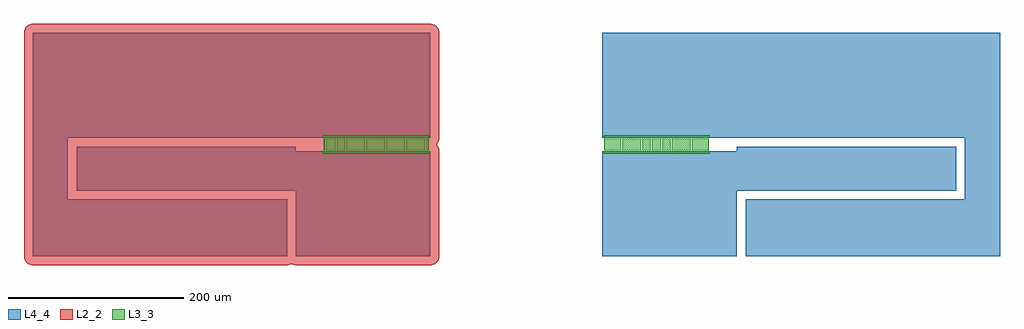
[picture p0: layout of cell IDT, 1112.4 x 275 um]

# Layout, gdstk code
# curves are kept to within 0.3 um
import gdstk
lib = gdstk.Library(unit=1e-6, precision=1e-09)
def P(c, l, *ps):  # polygons
    for p in ps: c.add(gdstk.Polygon(p, *l))
L2_2 = (2, 2)
L3_3 = (3, 3)
L4_4 = (4, 4)

idt = lib.new_cell('IDT')
P(idt, L2_2, [(-401.2,-37.5),(-405.027,-36.739),(-408.271,-34.571),(-410.439,-31.327),(-411.2,-27.5),(-411.2,227.5),(-410.769,230.403),(-409.515,233.056),(-405.914,236.319),(-401.2,237.5),(52,237.5),(54.903,237.069),(57.556,235.815),(60.819,232.214),(62,227.5),(62,107.5),(61.569,104.597),(60,101.52),(60,98.48),(61.569,95.403),(62,92.5),(62,-27.5),(61.569,-30.403),(60.315,-33.056),(56.714,-36.319),(52,-37.5),(-101.2,-37.5),(-104.103,-37.069),(-106.2,-36.148),(-108.297,-37.069),(-111.2,-37.5)])
P(idt, L3_3, [(-68.8,92.5),(-66.99,92.5),(-66.99,106.75),(-66.4,106.75),(-66.4,92.5),(-64.59,92.5),(-64.59,106.75),(-64,106.75),(-64,92.5),(-62.19,92.5),(-62.19,106.75),(-61.6,106.75),(-61.6,92.5),(-59.79,92.5),(-59.79,106.75),(-59.2,106.75),(-59.2,92.5),(-57.39,92.5),(-57.39,106.75),(-56.8,106.75),(-56.8,92.5),(-54.99,92.5),(-54.99,106.75),(-54.4,106.75),(-54.4,92.5),(-52.59,92.5),(-52.59,106.75),(-52,106.75),(-52,92.5),(-50.19,92.5),(-50.19,106.75),(-49.6,106.75),(-49.6,92.5),(-47.79,92.5),(-47.79,106.75),(-47.2,106.75),(-47.2,92.5),(-45.39,92.5),(-45.39,106.75),(-44.8,106.75),(-44.8,92.5),(-42.99,92.5),(-42.99,106.75),(-42.4,106.75),(-42.4,92.5),(-40.59,92.5),(-40.59,106.75),(-40,106.75),(-40,92.5),(-38.19,92.5),(-38.19,106.75),(-37.6,106.75),(-37.6,92.5),(-35.79,92.5),(-35.79,106.75),(-35.2,106.75),(-35.2,92.5),(-33.39,92.5),(-33.39,106.75),(-32.8,106.75),(-32.8,92.5),(-30.99,92.5),(-30.99,106.75),(-30.4,106.75),(-30.4,92.5),(-28.59,92.5),(-28.59,106.75),(-28,106.75),(-28,92.5),(-26.19,92.5),(-26.19,106.75),(-25.6,106.75),(-25.6,92.5),(-23.79,92.5),(-23.79,106.75),(-23.2,106.75),(-23.2,92.5),(-21.39,92.5),(-21.39,106.75),(-20.8,106.75),(-20.8,92.5),(-18.99,92.5),(-18.99,106.75),(-18.4,106.75),(-18.4,92.5),(-16.59,92.5),(-16.59,106.75),(-16,106.75),(-16,92.5),(-14.19,92.5),(-14.19,106.75),(-13.6,106.75),(-13.6,92.5),(-11.79,92.5),(-11.79,106.75),(-11.2,106.75),(-11.2,92.5),(-9.39,92.5),(-9.39,106.75),(-8.8,106.75),(-8.8,92.5),(-6.99,92.5),(-6.99,106.75),(-6.4,106.75),(-6.4,92.5),(-4.59,92.5),(-4.59,106.75),(-4,106.75),(-4,92.5),(-2.19,92.5),(-2.19,106.75),(-1.6,106.75),(-1.6,92.5),(0.21,92.5),(0.21,106.75),(0.8,106.75),(0.8,92.5),(2.61,92.5),(2.61,106.75),(3.2,106.75),(3.2,92.5),(5.01,92.5),(5.01,106.75),(5.6,106.75),(5.6,92.5),(7.41,92.5),(7.41,106.75),(8,106.75),(8,92.5),(9.81,92.5),(9.81,106.75),(10.4,106.75),(10.4,92.5),(12.21,92.5),(12.21,106.75),(12.8,106.75),(12.8,92.5),(14.61,92.5),(14.61,106.75),(15.2,106.75),(15.2,92.5),(17.01,92.5),(17.01,106.75),(17.6,106.75),(17.6,92.5),(19.41,92.5),(19.41,106.75),(20,106.75),(20,92.5),(21.81,92.5),(21.81,106.75),(22.4,106.75),(22.4,92.5),(24.21,92.5),(24.21,106.75),(24.8,106.75),(24.8,92.5),(26.61,92.5),(26.61,106.75),(27.2,106.75),(27.2,92.5),(29.01,92.5),(29.01,106.75),(29.6,106.75),(29.6,92.5),(31.41,92.5),(31.41,106.75),(32,106.75),(32,92.5),(33.81,92.5),(33.81,106.75),(34.4,106.75),(34.4,92.5),(36.21,92.5),(36.21,106.75),(36.8,106.75),(36.8,92.5),(38.61,92.5),(38.61,106.75),(39.2,106.75),(39.2,92.5),(41.01,92.5),(41.01,106.75),(41.6,106.75),(41.6,92.5),(43.41,92.5),(43.41,106.75),(44,106.75),(44,92.5),(45.81,92.5),(45.81,106.75),(46.4,106.75),(46.4,92.5),(48.21,92.5),(48.21,106.75),(48.8,106.75),(48.8,92.5),(50.6,92.5),(50.6,89.5),(-70.6,89.5),(-70.6,92.5),(-69.39,92.5),(-69.39,106.75),(-68.8,106.75),(-68.8,92.5)],
  [(-68.19,93.25),(-68.19,107.5),(-70.6,107.5),(-70.6,110.5),(50.6,110.5),(50.6,107.5),(50,107.5),(50,93.25),(49.41,93.25),(49.41,107.5),(47.6,107.5),(47.6,93.25),(47.01,93.25),(47.01,107.5),(45.2,107.5),(45.2,93.25),(44.61,93.25),(44.61,107.5),(42.8,107.5),(42.8,93.25),(42.21,93.25),(42.21,107.5),(40.4,107.5),(40.4,93.25),(39.81,93.25),(39.81,107.5),(38,107.5),(38,93.25),(37.41,93.25),(37.41,107.5),(35.6,107.5),(35.6,93.25),(35.01,93.25),(35.01,107.5),(33.2,107.5),(33.2,93.25),(32.61,93.25),(32.61,107.5),(30.8,107.5),(30.8,93.25),(30.21,93.25),(30.21,107.5),(28.4,107.5),(28.4,93.25),(27.81,93.25),(27.81,107.5),(26,107.5),(26,93.25),(25.41,93.25),(25.41,107.5),(23.6,107.5),(23.6,93.25),(23.01,93.25),(23.01,107.5),(21.2,107.5),(21.2,93.25),(20.61,93.25),(20.61,107.5),(18.8,107.5),(18.8,93.25),(18.21,93.25),(18.21,107.5),(16.4,107.5),(16.4,93.25),(15.81,93.25),(15.81,107.5),(14,107.5),(14,93.25),(13.41,93.25),(13.41,107.5),(11.6,107.5),(11.6,93.25),(11.01,93.25),(11.01,107.5),(9.2,107.5),(9.2,93.25),(8.61,93.25),(8.61,107.5),(6.8,107.5),(6.8,93.25),(6.21,93.25),(6.21,107.5),(4.4,107.5),(4.4,93.25),(3.81,93.25),(3.81,107.5),(2,107.5),(2,93.25),(1.41,93.25),(1.41,107.5),(-0.4,107.5),(-0.4,93.25),(-0.99,93.25),(-0.99,107.5),(-2.8,107.5),(-2.8,93.25),(-3.39,93.25),(-3.39,107.5),(-5.2,107.5),(-5.2,93.25),(-5.79,93.25),(-5.79,107.5),(-7.6,107.5),(-7.6,93.25),(-8.19,93.25),(-8.19,107.5),(-10,107.5),(-10,93.25),(-10.59,93.25),(-10.59,107.5),(-12.4,107.5),(-12.4,93.25),(-12.99,93.25),(-12.99,107.5),(-14.8,107.5),(-14.8,93.25),(-15.39,93.25),(-15.39,107.5),(-17.2,107.5),(-17.2,93.25),(-17.79,93.25),(-17.79,107.5),(-19.6,107.5),(-19.6,93.25),(-20.19,93.25),(-20.19,107.5),(-22,107.5),(-22,93.25),(-22.59,93.25),(-22.59,107.5),(-24.4,107.5),(-24.4,93.25),(-24.99,93.25),(-24.99,107.5),(-26.8,107.5),(-26.8,93.25),(-27.39,93.25),(-27.39,107.5),(-29.2,107.5),(-29.2,93.25),(-29.79,93.25),(-29.79,107.5),(-31.6,107.5),(-31.6,93.25),(-32.19,93.25),(-32.19,107.5),(-34,107.5),(-34,93.25),(-34.59,93.25),(-34.59,107.5),(-36.4,107.5),(-36.4,93.25),(-36.99,93.25),(-36.99,107.5),(-38.8,107.5),(-38.8,93.25),(-39.39,93.25),(-39.39,107.5),(-41.2,107.5),(-41.2,93.25),(-41.79,93.25),(-41.79,107.5),(-43.6,107.5),(-43.6,93.25),(-44.19,93.25),(-44.19,107.5),(-46,107.5),(-46,93.25),(-46.59,93.25),(-46.59,107.5),(-48.4,107.5),(-48.4,93.25),(-48.99,93.25),(-48.99,107.5),(-50.8,107.5),(-50.8,93.25),(-51.39,93.25),(-51.39,107.5),(-53.2,107.5),(-53.2,93.25),(-53.79,93.25),(-53.79,107.5),(-55.6,107.5),(-55.6,93.25),(-56.19,93.25),(-56.19,107.5),(-58,107.5),(-58,93.25),(-58.59,93.25),(-58.59,107.5),(-60.4,107.5),(-60.4,93.25),(-60.99,93.25),(-60.99,107.5),(-62.8,107.5),(-62.8,93.25),(-63.39,93.25),(-63.39,107.5),(-65.2,107.5),(-65.2,93.25),(-65.79,93.25),(-65.79,107.5),(-67.6,107.5),(-67.6,93.25),(-68.19,93.25)],
  [(368.8,92.5),(366.99,92.5),(366.99,106.75),(366.4,106.75),(366.4,92.5),(364.59,92.5),(364.59,106.75),(364,106.75),(364,92.5),(362.19,92.5),(362.19,106.75),(361.6,106.75),(361.6,92.5),(359.79,92.5),(359.79,106.75),(359.2,106.75),(359.2,92.5),(357.39,92.5),(357.39,106.75),(356.8,106.75),(356.8,92.5),(354.99,92.5),(354.99,106.75),(354.4,106.75),(354.4,92.5),(352.59,92.5),(352.59,106.75),(352,106.75),(352,92.5),(350.19,92.5),(350.19,106.75),(349.6,106.75),(349.6,92.5),(347.79,92.5),(347.79,106.75),(347.2,106.75),(347.2,92.5),(345.39,92.5),(345.39,106.75),(344.8,106.75),(344.8,92.5),(342.99,92.5),(342.99,106.75),(342.4,106.75),(342.4,92.5),(340.59,92.5),(340.59,106.75),(340,106.75),(340,92.5),(338.19,92.5),(338.19,106.75),(337.6,106.75),(337.6,92.5),(335.79,92.5),(335.79,106.75),(335.2,106.75),(335.2,92.5),(333.39,92.5),(333.39,106.75),(332.8,106.75),(332.8,92.5),(330.99,92.5),(330.99,106.75),(330.4,106.75),(330.4,92.5),(328.59,92.5),(328.59,106.75),(328,106.75),(328,92.5),(326.19,92.5),(326.19,106.75),(325.6,106.75),(325.6,92.5),(323.79,92.5),(323.79,106.75),(323.2,106.75),(323.2,92.5),(321.39,92.5),(321.39,106.75),(320.8,106.75),(320.8,92.5),(318.99,92.5),(318.99,106.75),(318.4,106.75),(318.4,92.5),(316.59,92.5),(316.59,106.75),(316,106.75),(316,92.5),(314.19,92.5),(314.19,106.75),(313.6,106.75),(313.6,92.5),(311.79,92.5),(311.79,106.75),(311.2,106.75),(311.2,92.5),(309.39,92.5),(309.39,106.75),(308.8,106.75),(308.8,92.5),(306.99,92.5),(306.99,106.75),(306.4,106.75),(306.4,92.5),(304.59,92.5),(304.59,106.75),(304,106.75),(304,92.5),(302.19,92.5),(302.19,106.75),(301.6,106.75),(301.6,92.5),(299.79,92.5),(299.79,106.75),(299.2,106.75),(299.2,92.5),(297.39,92.5),(297.39,106.75),(296.8,106.75),(296.8,92.5),(294.99,92.5),(294.99,106.75),(294.4,106.75),(294.4,92.5),(292.59,92.5),(292.59,106.75),(292,106.75),(292,92.5),(290.19,92.5),(290.19,106.75),(289.6,106.75),(289.6,92.5),(287.79,92.5),(287.79,106.75),(287.2,106.75),(287.2,92.5),(285.39,92.5),(285.39,106.75),(284.8,106.75),(284.8,92.5),(282.99,92.5),(282.99,106.75),(282.4,106.75),(282.4,92.5),(280.59,92.5),(280.59,106.75),(280,106.75),(280,92.5),(278.19,92.5),(278.19,106.75),(277.6,106.75),(277.6,92.5),(275.79,92.5),(275.79,106.75),(275.2,106.75),(275.2,92.5),(273.39,92.5),(273.39,106.75),(272.8,106.75),(272.8,92.5),(270.99,92.5),(270.99,106.75),(270.4,106.75),(270.4,92.5),(268.59,92.5),(268.59,106.75),(268,106.75),(268,92.5),(266.19,92.5),(266.19,106.75),(265.6,106.75),(265.6,92.5),(263.79,92.5),(263.79,106.75),(263.2,106.75),(263.2,92.5),(261.39,92.5),(261.39,106.75),(260.8,106.75),(260.8,92.5),(258.99,92.5),(258.99,106.75),(258.4,106.75),(258.4,92.5),(256.59,92.5),(256.59,106.75),(256,106.75),(256,92.5),(254.19,92.5),(254.19,106.75),(253.6,106.75),(253.6,92.5),(251.79,92.5),(251.79,106.75),(251.2,106.75),(251.2,92.5),(249.4,92.5),(249.4,89.5),(370.6,89.5),(370.6,92.5),(369.39,92.5),(369.39,106.75),(368.8,106.75),(368.8,92.5)],
  [(368.19,93.25),(368.19,107.5),(370.6,107.5),(370.6,110.5),(249.4,110.5),(249.4,107.5),(250,107.5),(250,93.25),(250.59,93.25),(250.59,107.5),(252.4,107.5),(252.4,93.25),(252.99,93.25),(252.99,107.5),(254.8,107.5),(254.8,93.25),(255.39,93.25),(255.39,107.5),(257.2,107.5),(257.2,93.25),(257.79,93.25),(257.79,107.5),(259.6,107.5),(259.6,93.25),(260.19,93.25),(260.19,107.5),(262,107.5),(262,93.25),(262.59,93.25),(262.59,107.5),(264.4,107.5),(264.4,93.25),(264.99,93.25),(264.99,107.5),(266.8,107.5),(266.8,93.25),(267.39,93.25),(267.39,107.5),(269.2,107.5),(269.2,93.25),(269.79,93.25),(269.79,107.5),(271.6,107.5),(271.6,93.25),(272.19,93.25),(272.19,107.5),(274,107.5),(274,93.25),(274.59,93.25),(274.59,107.5),(276.4,107.5),(276.4,93.25),(276.99,93.25),(276.99,107.5),(278.8,107.5),(278.8,93.25),(279.39,93.25),(279.39,107.5),(281.2,107.5),(281.2,93.25),(281.79,93.25),(281.79,107.5),(283.6,107.5),(283.6,93.25),(284.19,93.25),(284.19,107.5),(286,107.5),(286,93.25),(286.59,93.25),(286.59,107.5),(288.4,107.5),(288.4,93.25),(288.99,93.25),(288.99,107.5),(290.8,107.5),(290.8,93.25),(291.39,93.25),(291.39,107.5),(293.2,107.5),(293.2,93.25),(293.79,93.25),(293.79,107.5),(295.6,107.5),(295.6,93.25),(296.19,93.25),(296.19,107.5),(298,107.5),(298,93.25),(298.59,93.25),(298.59,107.5),(300.4,107.5),(300.4,93.25),(300.99,93.25),(300.99,107.5),(302.8,107.5),(302.8,93.25),(303.39,93.25),(303.39,107.5),(305.2,107.5),(305.2,93.25),(305.79,93.25),(305.79,107.5),(307.6,107.5),(307.6,93.25),(308.19,93.25),(308.19,107.5),(310,107.5),(310,93.25),(310.59,93.25),(310.59,107.5),(312.4,107.5),(312.4,93.25),(312.99,93.25),(312.99,107.5),(314.8,107.5),(314.8,93.25),(315.39,93.25),(315.39,107.5),(317.2,107.5),(317.2,93.25),(317.79,93.25),(317.79,107.5),(319.6,107.5),(319.6,93.25),(320.19,93.25),(320.19,107.5),(322,107.5),(322,93.25),(322.59,93.25),(322.59,107.5),(324.4,107.5),(324.4,93.25),(324.99,93.25),(324.99,107.5),(326.8,107.5),(326.8,93.25),(327.39,93.25),(327.39,107.5),(329.2,107.5),(329.2,93.25),(329.79,93.25),(329.79,107.5),(331.6,107.5),(331.6,93.25),(332.19,93.25),(332.19,107.5),(334,107.5),(334,93.25),(334.59,93.25),(334.59,107.5),(336.4,107.5),(336.4,93.25),(336.99,93.25),(336.99,107.5),(338.8,107.5),(338.8,93.25),(339.39,93.25),(339.39,107.5),(341.2,107.5),(341.2,93.25),(341.79,93.25),(341.79,107.5),(343.6,107.5),(343.6,93.25),(344.19,93.25),(344.19,107.5),(346,107.5),(346,93.25),(346.59,93.25),(346.59,107.5),(348.4,107.5),(348.4,93.25),(348.99,93.25),(348.99,107.5),(350.8,107.5),(350.8,93.25),(351.39,93.25),(351.39,107.5),(353.2,107.5),(353.2,93.25),(353.79,93.25),(353.79,107.5),(355.6,107.5),(355.6,93.25),(356.19,93.25),(356.19,107.5),(358,107.5),(358,93.25),(358.59,93.25),(358.59,107.5),(360.4,107.5),(360.4,93.25),(360.99,93.25),(360.99,107.5),(362.8,107.5),(362.8,93.25),(363.39,93.25),(363.39,107.5),(365.2,107.5),(365.2,93.25),(365.79,93.25),(365.79,107.5),(367.6,107.5),(367.6,93.25),(368.19,93.25)])
P(idt, L4_4, [(-111.2,37.5),(-111.2,-27.5),(-401.2,-27.5),(-401.2,37.5),(-401.2,107.5),(-401.2,227.5),(52,227.5),(52,107.5),(-361.2,107.5),(-361.2,37.5),(-111.2,37.5)],
  [(52,92.5),(52,-27.5),(-101.2,-27.5),(-101.2,47.5),(-351.2,47.5),(-351.2,97.5),(-101.2,97.5),(-101.2,92.5),(52,92.5)],
  [(411.2,37.5),(411.2,-27.5),(701.2,-27.5),(701.2,37.5),(701.2,107.5),(701.2,227.5),(248,227.5),(248,107.5),(661.2,107.5),(661.2,37.5),(411.2,37.5)],
  [(248,92.5),(248,-27.5),(401.2,-27.5),(401.2,47.5),(651.2,47.5),(651.2,97.5),(401.2,97.5),(401.2,92.5),(248,92.5)])

lib.write_gds('IDT.gds')
